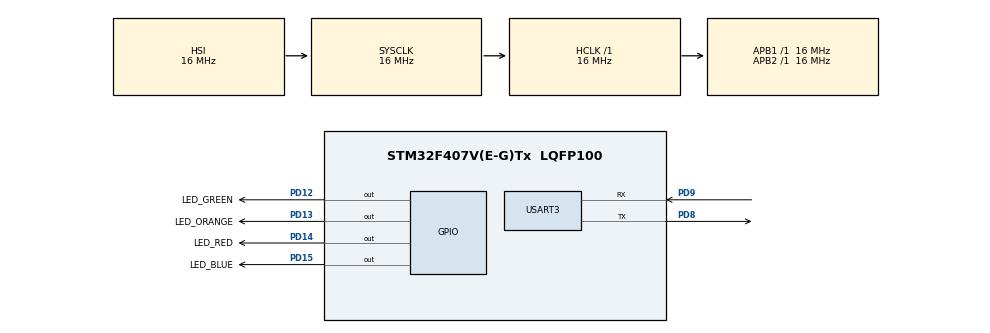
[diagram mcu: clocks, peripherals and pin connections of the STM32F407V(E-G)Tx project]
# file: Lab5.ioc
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Mcu.Family=STM32F4
Mcu.Name=STM32F407V(E-G)Tx
Mcu.Package=LQFP100
NVIC.PriorityGroup=NVIC_PRIORITYGROUP_4
PD12.GPIO_Label=LED_GREEN
PD12.Signal=GPIO_Output
PD13.GPIO_Label=LED_ORANGE
PD13.Signal=GPIO_Output
PD14.GPIO_Label=LED_RED
PD14.Signal=GPIO_Output
PD15.GPIO_Label=LED_BLUE
PD15.Signal=GPIO_Output
PD8.Mode=Asynchronous
PD8.Signal=USART3_TX
PD9.Mode=Asynchronous
PD9.Signal=USART3_RX
ProjectManager.HeapSize=0x200
ProjectManager.StackSize=0x400
ProjectManager.TargetToolchain=STM32CubeIDE
RCC.AHBFreq_Value=16000000
RCC.APB1Freq_Value=16000000
RCC.APB2Freq_Value=16000000
RCC.CortexFreq_Value=16000000
RCC.HSE_VALUE=25000000
RCC.HSI_VALUE=16000000
RCC.LSE_VALUE=32768
RCC.SYSCLKFreq_VALUE=16000000
RCC.VCOOutputFreq_Value=192000000
USART3.VirtualMode=VM_ASYNC
board=custom

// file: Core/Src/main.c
/* USER CODE BEGIN Header */
/**
  ******************************************************************************
  * @file           : main.c
  * @brief          : Main program body
  ******************************************************************************
  * @attention
  *
  * Copyright (c) 2023 STMicroelectronics.
  * All rights reserved.
  *
  * This software is licensed under terms that can be found in the LICENSE file
  * in the root directory of this software component.
  * If no LICENSE file comes with this software, it is provided AS-IS.
  *
  ******************************************************************************
  */
/* USER CODE END Header */
#include "main.h"

UART_HandleTypeDef huart3;

void SystemClock_Config(void);
static void MX_GPIO_Init(void);
static void MX_USART3_UART_Init(void);

int main(void)
{

  /* MCU Configuration--------------------------------------------------------*/

  /* Reset of all peripherals, Initializes the Flash interface and the Systick. */
  HAL_Init();

  /* Configure the system clock */
  SystemClock_Config();

  /* Initialize all configured peripherals */
  MX_GPIO_Init();
  MX_USART3_UART_Init();

  /* Infinite loop */
  /* USER CODE BEGIN WHILE */
  while (1)
  {
	uint8_t rcvBuf[1];
	HAL_StatusTypeDef result;

	result = HAL_UART_Receive(&huart3, rcvBuf, 1, 3000);

	if (result == HAL_OK)
	{
		switch (rcvBuf[0])
		{
			case '1':
				HAL_GPIO_WritePin(GPIOD, LED_GREEN_Pin, GPIO_PIN_SET);
				HAL_GPIO_WritePin(GPIOD, LED_ORANGE_Pin, GPIO_PIN_RESET);
				HAL_GPIO_WritePin(GPIOD, LED_RED_Pin, GPIO_PIN_RESET);
				HAL_GPIO_WritePin(GPIOD, LED_BLUE_Pin, GPIO_PIN_RESET);
                HAL_UART_Transmit(&huart3, (uint8_t *)" - Green ON\r\n", 13, 100);
                break;

            case '2':
				HAL_GPIO_WritePin(GPIOD, LED_GREEN_Pin, GPIO_PIN_RESET);
				HAL_GPIO_WritePin(GPIOD, LED_ORANGE_Pin, GPIO_PIN_SET);
				HAL_GPIO_WritePin(GPIOD, LED_RED_Pin, GPIO_PIN_RESET);
				HAL_GPIO_WritePin(GPIOD, LED_BLUE_Pin, GPIO_PIN_RESET);
                HAL_UART_Transmit(&huart3, (uint8_t *)" - Orange On\r\n", 14, 100);
                break;

            case '3':
				HAL_GPIO_WritePin(GPIOD, LED_GREEN_Pin, GPIO_PIN_RESET);
				HAL_GPIO_WritePin(GPIOD, LED_ORANGE_Pin, GPIO_PIN_RESET);
				HAL_GPIO_WritePin(GPIOD, LED_RED_Pin, GPIO_PIN_SET);
				HAL_GPIO_WritePin(GPIOD, LED_BLUE_Pin, GPIO_PIN_RESET);
                HAL_UART_Transmit(&huart3, (uint8_t *)" - Red ON\r\n", 11, 100);
                break;

            case '4':
				HAL_GPIO_WritePin(GPIOD, LED_GREEN_Pin, GPIO_PIN_RESET);
				HAL_GPIO_WritePin(GPIOD, LED_ORANGE_Pin, GPIO_PIN_RESET);
				HAL_GPIO_WritePin(GPIOD, LED_RED_Pin, GPIO_PIN_RESET);
				HAL_GPIO_WritePin(GPIOD, LED_BLUE_Pin, GPIO_PIN_SET);
                HAL_UART_Transmit(&huart3, (uint8_t *)" - Blue ON\r\n", 12, 100);
                 break;

            case '5':
				HAL_GPIO_WritePin(GPIOD, LED_GREEN_Pin, GPIO_PIN_SET);
				HAL_GPIO_WritePin(GPIOD, LED_ORANGE_Pin, GPIO_PIN_SET);
				HAL_GPIO_WritePin(GPIOD, LED_RED_Pin, GPIO_PIN_SET);
				HAL_GPIO_WritePin(GPIOD, LED_BLUE_Pin, GPIO_PIN_SET);
                HAL_UART_Transmit(&huart3, (uint8_t *)" - All ON\r\n", 11, 100);
                break;

            case '6':
				HAL_GPIO_WritePin(GPIOD, LED_GREEN_Pin, GPIO_PIN_RESET);
				HAL_GPIO_WritePin(GPIOD, LED_ORANGE_Pin, GPIO_PIN_RESET);
				HAL_GPIO_WritePin(GPIOD, LED_RED_Pin, GPIO_PIN_RESET);
				HAL_GPIO_WritePin(GPIOD, LED_BLUE_Pin, GPIO_PIN_RESET);
                HAL_UART_Transmit(&huart3, (uint8_t *)" - All OFF\r\n", 12, 100);
                break;

            default:
                HAL_UART_Transmit(&huart3, (uint8_t *)" - UnexpCmd\r\n", 13, 100);
                break;
		}
	}
    /* USER CODE END WHILE */

  }
}

void SystemClock_Config(void)
{
  RCC_OscInitTypeDef RCC_OscInitStruct = {0};
  RCC_ClkInitTypeDef RCC_ClkInitStruct = {0};

  /** Configure the main internal regulator output voltage
  */
  __HAL_RCC_PWR_CLK_ENABLE();
  __HAL_PWR_VOLTAGESCALING_CONFIG(PWR_REGULATOR_VOLTAGE_SCALE1);

  /** Initializes the RCC Oscillators according to the specified parameters
  * in the RCC_OscInitTypeDef structure.
  */
  RCC_OscInitStruct.OscillatorType = RCC_OSCILLATORTYPE_HSI;
  RCC_OscInitStruct.HSIState = RCC_HSI_ON;
  RCC_OscInitStruct.HSICalibrationValue = RCC_HSICALIBRATION_DEFAULT;
  RCC_OscInitStruct.PLL.PLLState = RCC_PLL_NONE;
  if (HAL_RCC_OscConfig(&RCC_OscInitStruct) != HAL_OK)
  {
    Error_Handler();
  }

  /** Initializes the CPU, AHB and APB buses clocks
  */
  RCC_ClkInitStruct.ClockType = RCC_CLOCKTYPE_HCLK|RCC_CLOCKTYPE_SYSCLK
                              |RCC_CLOCKTYPE_PCLK1|RCC_CLOCKTYPE_PCLK2;
  RCC_ClkInitStruct.SYSCLKSource = RCC_SYSCLKSOURCE_HSI;
  RCC_ClkInitStruct.AHBCLKDivider = RCC_SYSCLK_DIV1;
  RCC_ClkInitStruct.APB1CLKDivider = RCC_HCLK_DIV1;
  RCC_ClkInitStruct.APB2CLKDivider = RCC_HCLK_DIV1;

  if (HAL_RCC_ClockConfig(&RCC_ClkInitStruct, FLASH_LATENCY_0) != HAL_OK)
  {
    Error_Handler();
  }
}

static void MX_USART3_UART_Init(void)
{

  huart3.Instance = USART3;
  huart3.Init.BaudRate = 115200;
  huart3.Init.WordLength = UART_WORDLENGTH_8B;
  huart3.Init.StopBits = UART_STOPBITS_1;
  huart3.Init.Parity = UART_PARITY_NONE;
  huart3.Init.Mode = UART_MODE_TX_RX;
  huart3.Init.HwFlowCtl = UART_HWCONTROL_NONE;
  huart3.Init.OverSampling = UART_OVERSAMPLING_16;
  if (HAL_UART_Init(&huart3) != HAL_OK)
  {
    Error_Handler();
  }

}

static void MX_GPIO_Init(void)
{
  GPIO_InitTypeDef GPIO_InitStruct = {0};

  /* GPIO Ports Clock Enable */
  __HAL_RCC_GPIOD_CLK_ENABLE();

  /*Configure GPIO pin Output Level */
  HAL_GPIO_WritePin(GPIOD, LED_GREEN_Pin|LED_ORANGE_Pin|LED_RED_Pin|LED_BLUE_Pin, GPIO_PIN_RESET);

  /*Configure GPIO pins : LED_GREEN_Pin LED_ORANGE_Pin LED_RED_Pin LED_BLUE_Pin */
  GPIO_InitStruct.Pin = LED_GREEN_Pin|LED_ORANGE_Pin|LED_RED_Pin|LED_BLUE_Pin;
  GPIO_InitStruct.Mode = GPIO_MODE_OUTPUT_PP;
  GPIO_InitStruct.Pull = GPIO_NOPULL;
  GPIO_InitStruct.Speed = GPIO_SPEED_FREQ_LOW;
  HAL_GPIO_Init(GPIOD, &GPIO_InitStruct);

}

void Error_Handler(void)
{
  __disable_irq();
  while (1)
  {
  }
}
